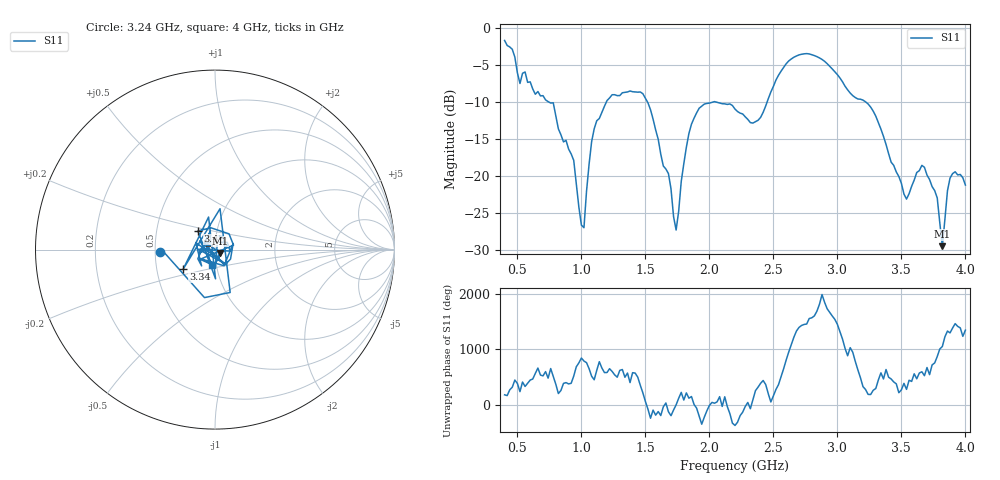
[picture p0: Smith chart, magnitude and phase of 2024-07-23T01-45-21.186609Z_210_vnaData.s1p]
!Created with skrf (http://scikit-rf.org).
# Hz S RI R 50.0
!freq ReS11 ImS11
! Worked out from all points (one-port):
!   181 points, 400 MHz to 4 GHz, reference 50 ohm
!   lowest |S11| = -29.5 dB at 3.82 GHz (marker M1), VSWR 1.07, Z = 52.8 - j1.95 ohm
!   |S11| at or under -10 dB: 744.7 MHz to 1.195 GHz (450.5 MHz wide, 46.4 % of centre); 1.516 GHz to 2.031 GHz (515.3 MHz wide, 29.1 % of centre); 3.221 GHz to end of sweep (the widest 3 of 4)
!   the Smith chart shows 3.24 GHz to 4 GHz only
!   S11 on the Smith chart (normalised r, x): 3.24 GHz: 0.53, -0.02; 3.34 GHz: 0.69, -0.15; 3.4 GHz: 0.81, +0.17; 4 GHz: 0.96, -0.16
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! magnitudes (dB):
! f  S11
! 400 MHz  -1.7
! 520 MHz  -7.5
! 780 MHz  -10.1
! 860 MHz  -15.4
! 940 MHz  -17.9
! 1.02 GHz  -27.0
! 1.1 GHz  -13.6
! 1.3 GHz  -9.1
! 1.52 GHz  -10.1
! 1.68 GHz  -19.7
! 1.74 GHz  -27.4
! 1.76 GHz  -24.8
! 1.84 GHz  -14.3
! 1.92 GHz  -10.9
! 2.2 GHz  -11.0
! 2.38 GHz  -12.5
! 2.66 GHz  -3.9
! 2.88 GHz  -4.2
! 3.1 GHz  -8.8
! 3.24 GHz  -10.3
! 3.34 GHz  -13.7
! 3.4 GHz  -17.0
! 3.56 GHz  -22.4
! 3.68 GHz  -18.9
! 3.78 GHz  -23.0
! 3.82 GHz  -29.5
! 3.88 GHz  -20.3
! 4 GHz  -21.3
